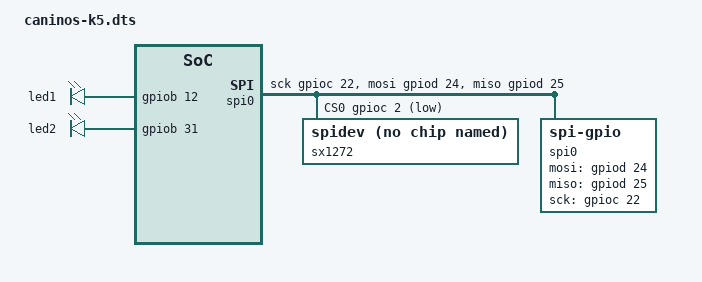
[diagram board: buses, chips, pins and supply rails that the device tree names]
/// SPDX-License-Identifier: (GPL-2.0+ OR MIT)

/dts-v1/;
#include "caninos-k5.dtsi"

/ {
	chosen {
		stdout-path = "serial3:115200n8";
	};

	soc {
		leds {
			compatible = "gpio-leds";
			
			led@1 {
				label = "led1";
				gpios = <&gpiob 12 GPIO_ACTIVE_HIGH>;
				linux,default-trigger = "default-on";
				default-state = "ON";
			};
			
			led@2 {
				label = "led2";
				gpios = <&gpiob 31 GPIO_ACTIVE_HIGH>;
				linux,default-trigger = "heartbeat";
				default-state = "ON";
			};
		};
	};

	spi0: spi-gpio {
		compatible = "spi-gpio";
		miso-gpios = <&gpiod 25 GPIO_ACTIVE_HIGH>;
		mosi-gpios = <&gpiod 24 GPIO_ACTIVE_HIGH>;
		sck-gpios  = <&gpioc 22 GPIO_ACTIVE_HIGH>;
		cs-gpios   = <&gpioc 2  GPIO_ACTIVE_LOW>;
		cs-num = <1>;

		#address-cells = <1>;
		#size-cells = <0>;

		max-speed = <100000>;

		sx1272: spi@0 {
			compatible = "rohm,dh2228fv";
			reg = <0>;
			// reset = <&pmicgpio 4 GPIO_ACTIVE_LOW>;
			// dio0 = <&gpiob 11 GPIO_ACTIVE_HIGH>;
		};

		spi0: spi-gpio {
			compatible = "spi-gpio";
			#address-cells = <0x1>;
			ranges;

			mosi-gpios = <&gpiod 24 GPIO_ACTIVE_HIGH>;
			miso-gpios = <&gpiod 25 GPIO_ACTIVE_HIGH>;
			sck-gpios  = <&gpioc 22 GPIO_ACTIVE_HIGH>;
			cs-gpios   = <&gpioc 2  GPIO_ACTIVE_LOW >;
			
    		num-chipselects = <1>;
			status = "okay";

			lora@0 {
				compatible = "linux,spidev";
    			spi-max-frequency = <80000000>;
				reg = <0>;
				// reset = pmic sgpio 4 @ base 2.1, gpio expander p0 @ base 3.1
				// dio0 = gpiob 11
				// txrx = NC @ base2.1; pmic sgpio4 @ base 3.1
			};
		};
	};
};

&mmc1 {
	enable-gpios = <&gpiob 30 GPIO_ACTIVE_HIGH>, 
					<&gpioc 3 GPIO_ACTIVE_HIGH>;
};

&emac {
	phy-power-gpio = <&gpiob 11 GPIO_ACTIVE_HIGH>;
	phy-reset-gpio = <&gpiod 31 GPIO_ACTIVE_HIGH>;
};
